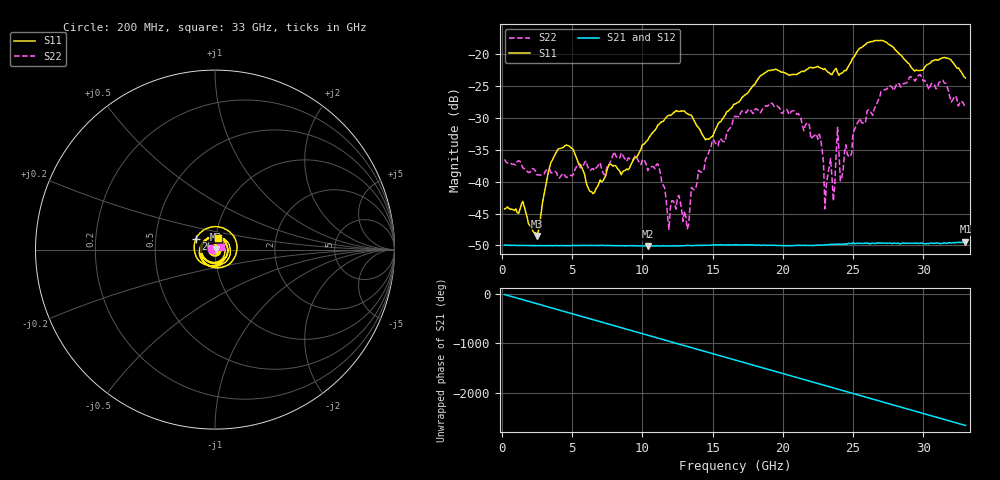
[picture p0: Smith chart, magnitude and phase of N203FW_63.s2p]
# GHZ S RI R 50
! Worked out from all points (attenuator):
!   329 points, 200 MHz to 33 GHz, reference 50 ohm
!   highest |S21| = -49.43 dB at 33 GHz (marker M1); lowest = -50.1 dB at 10.4 GHz (marker M2)
!   lowest |S11| = -48.5 dB at 2.5 GHz (marker M3), VSWR 1.01, Z = 50.3 + j0.162 ohm
!   |S11| at or under -10 dB: start of sweep to end of sweep
!   |S22| runs from -47.5 to -23.2 dB; largest |S21 - S12| = 8.8e-05
!   S11 on the Smith chart (normalised r, x): 200 MHz: 1.01, +0.00; 26 GHz: 0.80, +0.10; 33 GHz: 1.02, +0.13
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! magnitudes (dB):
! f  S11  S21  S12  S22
! 200 MHz  -44.3  -50.0  -49.9  -36.5
! 2.5 GHz  -48.5  -50.1  -50.0  -38.9
! 4 GHz  -34.9  -50.1  -50.0  -39.3
! 5.7 GHz  -37.8  -50.0  -50.0  -37.7
! 6.5 GHz  -41.9  -50.0  -50.0  -37.9
! 10.4 GHz  -33.5  -50.1  -50.1  -38.3
! 11.2 GHz  -30.9  -50.1  -50.1  -37.8
! 11.9 GHz  -29.5  -50.1  -50.1  -47.5
! 12.6 GHz  -29.0  -50.1  -50.1  -42.2
! 13.2 GHz  -29.3  -50.0  -50.0  -47.4
! 14 GHz  -31.5  -50.0  -50.0  -38.2
! 16.6 GHz  -27.8  -49.9  -49.9  -29.7
! 22.1 GHz  -22.1  -50.0  -50.0  -33.0
! 22.7 GHz  -22.1  -50.0  -49.9  -33.3
! 23 GHz  -22.2  -49.9  -49.9  -44.3
! 23.4 GHz  -23.1  -49.8  -49.8  -36.4
! 23.6 GHz  -22.8  -49.8  -49.8  -43.0
! 23.9 GHz  -22.8  -49.8  -49.8  -31.5
! 24.1 GHz  -23.0  -49.8  -49.8  -39.9
! 26 GHz  -18.2  -49.7  -49.7  -28.9
! 27.6 GHz  -18.5  -49.6  -49.6  -25.0
! 33 GHz  -23.7  -49.4  -49.5  -28.4
